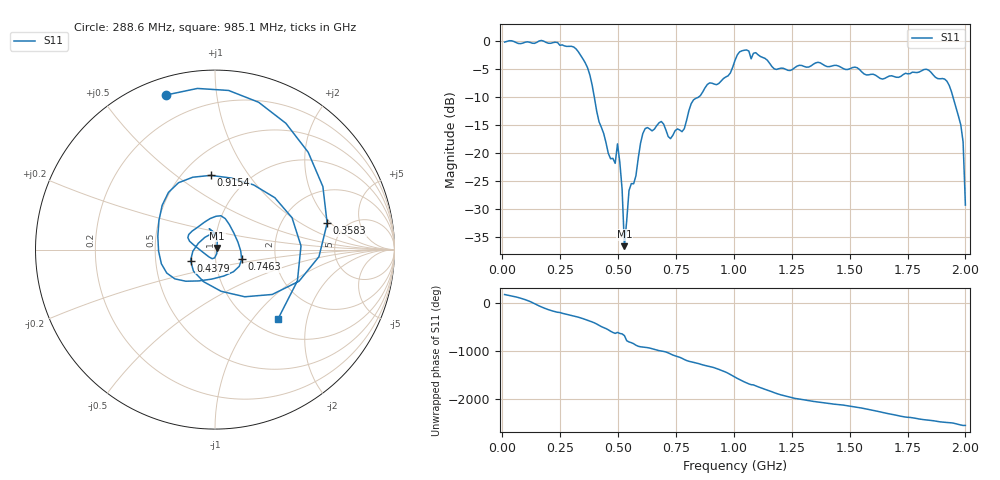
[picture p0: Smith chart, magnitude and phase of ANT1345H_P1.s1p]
!Created with skrf (http://scikit-rf.org).
# Hz S RI R 50.0
!freq ReS11 ImS11
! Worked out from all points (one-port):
!   201 points, 10 MHz to 2 GHz, reference 50 ohm
!   lowest |S11| = -36.7 dB at 527.4 MHz (marker M1), VSWR 1.03, Z = 51.1 + j0.929 ohm
!   |S11| at or under -10 dB: 397.4 MHz to 847.2 MHz (449.8 MHz wide, 72.3 % of centre); 1.947 GHz to end of sweep
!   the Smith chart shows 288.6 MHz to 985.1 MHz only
!   S11 on the Smith chart (normalised r, x): 288.6 MHz: 0.08, +0.73; 358.2 MHz: 3.62, +1.81; 437.9 MHz: 0.75, -0.09; 746.3 MHz: 1.34, -0.15; 915.5 MHz: 0.68, +0.68; 985.1 MHz: 1.28, -1.35
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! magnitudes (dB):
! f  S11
! 10 MHz  -0.1
! 258.8 MHz  -0.6
! 288.6 MHz  -0.9
! 358.2 MHz  -3.9
! 437.9 MHz  -16.5
! 487.6 MHz  -21.9
! 497.6 MHz  -18.4
! 507.5 MHz  -21.6
! 517.5 MHz  -26.5
! 527.4 MHz  -36.7
! 547.3 MHz  -26.7
! 577.1 MHz  -24.1
! 607 MHz  -16.5
! 686.6 MHz  -14.4
! 726.4 MHz  -17.4
! 746.3 MHz  -16.0
! 756.2 MHz  -15.7
! 915.5 MHz  -7.7
! 985.1 MHz  -5.7
! 1.005 GHz  -3.4
! 1.055 GHz  -1.5
! 1.254 GHz  -5.0
! 1.502 GHz  -4.9
! 1.751 GHz  -5.8
! 1.831 GHz  -5.0
! 1.93 GHz  -7.9
! 1.99 GHz  -18.0
! 2 GHz  -29.4
